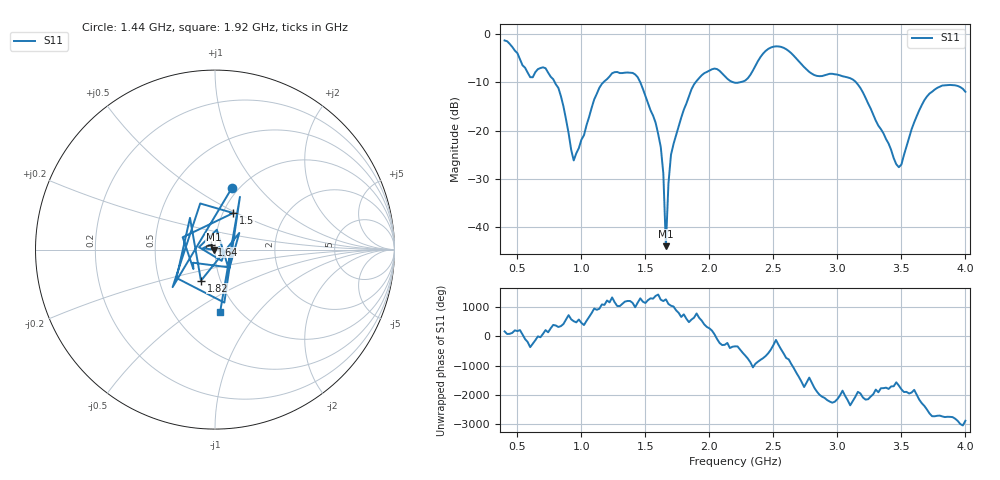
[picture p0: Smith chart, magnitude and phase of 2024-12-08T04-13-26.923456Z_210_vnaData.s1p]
!Created with skrf (http://scikit-rf.org).
# Hz S RI R 50.0
!freq ReS11 ImS11
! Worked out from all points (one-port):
!   181 points, 400 MHz to 4 GHz, reference 50 ohm
!   lowest |S11| = -43.9 dB at 1.66 GHz (marker M1), VSWR 1.01, Z = 49.4 - j0.081 ohm
!   |S11| at or under -10 dB: 791.5 MHz to 1.173 GHz (382 MHz wide, 38.9 % of centre); 1.46 GHz to 1.893 GHz (433.7 MHz wide, 25.9 % of centre); 3.144 GHz to end of sweep (the widest 3 of 4)
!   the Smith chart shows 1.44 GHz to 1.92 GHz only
!   S11 on the Smith chart (normalised r, x): 1.44 GHz: 0.93, +0.73; 1.5 GHz: 1.12, +0.48; 1.64 GHz: 0.95, +0.05; 1.82 GHz: 0.81, -0.29; 1.92 GHz: 0.83, -0.65
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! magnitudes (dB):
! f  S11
! 400 MHz  -1.4
! 600 MHz  -9.0
! 720 MHz  -7.1
! 860 MHz  -15.0
! 940 MHz  -26.2
! 1.14 GHz  -11.2
! 1.3 GHz  -8.1
! 1.44 GHz  -9.0
! 1.5 GHz  -12.9
! 1.58 GHz  -18.4
! 1.62 GHz  -23.4
! 1.64 GHz  -28.9
! 1.66 GHz  -43.9
! 1.68 GHz  -30.9
! 1.7 GHz  -25.0
! 1.76 GHz  -19.1
! 1.82 GHz  -14.4
! 1.92 GHz  -9.2
! 2.04 GHz  -7.2
! 2.2 GHz  -10.1
! 2.48 GHz  -2.9
! 2.66 GHz  -4.6
! 2.82 GHz  -8.5
! 3.1 GHz  -9.2
! 3.48 GHz  -27.6
! 3.56 GHz  -21.4
! 3.72 GHz  -12.4
! 4 GHz  -12.0
